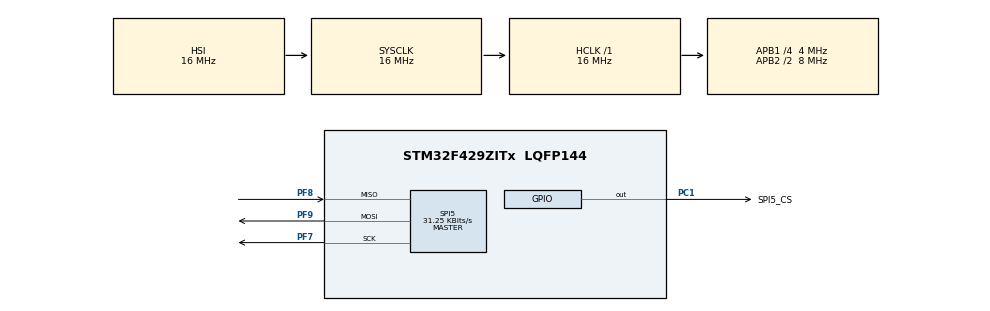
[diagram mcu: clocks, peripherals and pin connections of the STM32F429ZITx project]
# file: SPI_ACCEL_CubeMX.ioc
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Mcu.Family=STM32F4
Mcu.Name=STM32F429ZITx
Mcu.Package=LQFP144
NVIC.PriorityGroup=NVIC_PRIORITYGROUP_4
PC1.GPIO_Label=SPI5_CS
PC1.GPIO_Speed=GPIO_SPEED_FREQ_VERY_HIGH
PC1.Signal=GPIO_Output
PF7.Mode=Full_Duplex_Master
PF7.Signal=SPI5_SCK
PF8.Mode=Full_Duplex_Master
PF8.Signal=SPI5_MISO
PF9.Mode=Full_Duplex_Master
PF9.Signal=SPI5_MOSI
ProjectManager.HeapSize=0x200
ProjectManager.StackSize=0x400
ProjectManager.TargetToolchain=SW4STM32
RCC.48MHZClocksFreq_Value=50000000
RCC.AHBFreq_Value=16000000
RCC.APB1CLKDivider=RCC_HCLK_DIV4
RCC.APB1Freq_Value=4000000
RCC.APB1TimFreq_Value=8000000
RCC.APB2CLKDivider=RCC_HCLK_DIV2
RCC.APB2Freq_Value=8000000
RCC.APB2TimFreq_Value=16000000
RCC.CortexFreq_Value=16000000
RCC.HCLKFreq_Value=16000000
RCC.HSE_VALUE=25000000
RCC.HSI_VALUE=16000000
RCC.LSE_VALUE=32768
RCC.PLLM=8
RCC.PLLN=100
RCC.SYSCLKFreq_VALUE=16000000
RCC.VCOOutputFreq_Value=200000000
SPI5.BaudRatePrescaler=SPI_BAUDRATEPRESCALER_256
SPI5.CLKPhase=SPI_PHASE_2EDGE
SPI5.CLKPolarity=SPI_POLARITY_HIGH
SPI5.CalculateBaudRate=31.25 KBits/s
SPI5.DataSize=SPI_DATASIZE_8BIT
SPI5.Direction=SPI_DIRECTION_2LINES
SPI5.FirstBit=SPI_FIRSTBIT_MSB
SPI5.Mode=SPI_MODE_MASTER
SPI5.VirtualType=VM_MASTER
board=custom

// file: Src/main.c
/**
  ******************************************************************************
  * @file           : main.c
  * @brief          : Main program body
  ******************************************************************************
  ** This notice applies to any and all portions of this file
  * that are not between comment pairs USER CODE BEGIN and
  * USER CODE END. Other portions of this file, whether
  * inserted by the user or by software development tools
  * are owned by their respective copyright owners.
  *
  * COPYRIGHT(c) 2018 STMicroelectronics
  *
  * Redistribution and use in source and binary forms, with or without modification,
  * are permitted provided that the following conditions are met:
  *   1. Redistributions of source code must retain the above copyright notice,
  *      this list of conditions and the following disclaimer.
  *   2. Redistributions in binary form must reproduce the above copyright notice,
  *      this list of conditions and the following disclaimer in the documentation
  *      and/or other materials provided with the distribution.
  *   3. Neither the name of STMicroelectronics nor the names of its contributors
  *      may be used to endorse or promote products derived from this software
  *      without specific prior written permission.
  *
  * THIS SOFTWARE IS PROVIDED BY THE COPYRIGHT HOLDERS AND CONTRIBUTORS "AS IS"
  * AND ANY EXPRESS OR IMPLIED WARRANTIES, INCLUDING, BUT NOT LIMITED TO, THE
  * IMPLIED WARRANTIES OF MERCHANTABILITY AND FITNESS FOR A PARTICULAR PURPOSE ARE
  * DISCLAIMED. IN NO EVENT SHALL THE COPYRIGHT HOLDER OR CONTRIBUTORS BE LIABLE
  * FOR ANY DIRECT, INDIRECT, INCIDENTAL, SPECIAL, EXEMPLARY, OR CONSEQUENTIAL
  * DAMAGES (INCLUDING, BUT NOT LIMITED TO, PROCUREMENT OF SUBSTITUTE GOODS OR
  * SERVICES; LOSS OF USE, DATA, OR PROFITS; OR BUSINESS INTERRUPTION) HOWEVER
  * CAUSED AND ON ANY THEORY OF LIABILITY, WHETHER IN CONTRACT, STRICT LIABILITY,
  * OR TORT (INCLUDING NEGLIGENCE OR OTHERWISE) ARISING IN ANY WAY OUT OF THE USE
  * OF THIS SOFTWARE, EVEN IF ADVISED OF THE POSSIBILITY OF SUCH DAMAGE.
  *
  ******************************************************************************
  */
#include "main.h"
#include "stm32f4xx_hal.h"

SPI_HandleTypeDef hspi5;

/* USER CODE BEGIN PV */
/* Private variables ---------------------------------------------------------*/

volatile int16_t X_AXIS = 0;	// output is in 16bits reading by one from 2 registers (lower and higher part)
volatile int16_t Y_AXIS = 0;
volatile int16_t Z_AXIS = 0;
uint8_t DATA[6];
uint8_t addresses[16] =
{
	0x0F, 0x20, 0x21, 0x22, 0x23, 0x24, 0x25, 0x2E, 0x30, 0x32, 0x33, 0x34, 0x35, 0x36, 0x37, 0x38
};
uint8_t requests[16];

/* USER CODE END PV */

void SystemClock_Config(void);
static void MX_GPIO_Init(void);
static void MX_SPI5_Init(void);

/* USER CODE BEGIN PFP */
/* Private function prototypes -----------------------------------------------*/

/* USER CODE END PFP */

int main(void)
{

  /* MCU Configuration----------------------------------------------------------*/

  /* Reset of all peripherals, Initializes the Flash interface and the Systick. */
  HAL_Init();

  /* Configure the system clock */
  SystemClock_Config();

  /* Initialize all configured peripherals */
  MX_GPIO_Init();
  MX_SPI5_Init();
  /* USER CODE BEGIN 2 */
 /*
  HAL_GPIO_WritePin(SPI5_CS_GPIO_Port, SPI5_CS_Pin, GPIO_PIN_SET);
  HAL_Delay(100);

  int i;
  for(i = 0; i < 16; i++)
  {
  	HAL_Delay(10);

	addresses[i] = addresses[i] | 0x80;

  	HAL_GPIO_WritePin(SPI5_CS_GPIO_Port, SPI5_CS_Pin, GPIO_PIN_RESET);
  	HAL_SPI_Transmit(&hspi5, &addresses[i], 1, 50);
  	HAL_SPI_Receive(&hspi5, &requests[i], 1, 50);
  	HAL_GPIO_WritePin(SPI5_CS_GPIO_Port, SPI5_CS_Pin, GPIO_PIN_SET);
  }
*/

  HAL_GPIO_WritePin(SPI5_CS_GPIO_Port, SPI5_CS_Pin, GPIO_PIN_SET);
  HAL_Delay(100);														// CS -> HIGH (Normal) = Idle

  uint8_t CTRL[2];
  CTRL[0] = 0x20;		// CTRL1 Register address
  CTRL[1] = 0x0F;		// 00001111 - turn on and enable all axis

  HAL_GPIO_WritePin(SPI5_CS_GPIO_Port, SPI5_CS_Pin, GPIO_PIN_RESET);	// CS -> LOW (Active)
  HAL_SPI_Transmit(&hspi5, CTRL, 1, 100);								// Transmit (write) address
  HAL_SPI_Transmit(&hspi5, &CTRL[1], 1, 100);							// Transmit (write) data
  HAL_GPIO_WritePin(SPI5_CS_GPIO_Port, SPI5_CS_Pin, GPIO_PIN_SET);		// CS -> HIGH (Normal)
  HAL_Delay(500);

  uint8_t WHO[2];			// Control communication -> WHO_AM_I register value 11010100
  WHO[0] = 0x0F;			// 7bits address
  WHO[0] = 0x0F | 0x80; 	// R/W + address -> 8bits; RW = 1 for reading -> 10001111

  HAL_GPIO_WritePin(SPI5_CS_GPIO_Port, SPI5_CS_Pin, GPIO_PIN_RESET);
  HAL_SPI_Transmit(&hspi5, WHO, 1, 100);
  HAL_SPI_Receive(&hspi5, &WHO[1], 1, 100);								// WHO[1] should get 10001111
  HAL_GPIO_WritePin(SPI5_CS_GPIO_Port, SPI5_CS_Pin, GPIO_PIN_SET);

  uint8_t X[4];
  X[0] = 0x28 | 0x80;	// lower byte
  X[1] = 0x29 | 0x80;	// higher byte

  uint8_t Y[4];
  Y[0] = 0x2A | 0x80;
  Y[1] = 0x2B | 0x80;

  uint8_t Z[4];
  Z[0] = 0x2C | 0x80;
  Z[1] = 0x2D | 0x80;

  uint8_t temp[2];
  temp[0] = 0x26 | 0x80;

  uint8_t STATUS_REG[2];
  STATUS_REG[0] = 0x27 | 0x80;

  int state = 1;
  uint8_t DATA_ADDRESS = 0x28 | 0xC0;

  /* USER CODE END 2 */

  /* Infinite loop */
  /* USER CODE BEGIN WHILE */
  while (1)
  {
	 switch(state)
	 {

	 case 1:

		  HAL_GPIO_WritePin(SPI5_CS_GPIO_Port, SPI5_CS_Pin, GPIO_PIN_RESET);
		  HAL_SPI_Transmit(&hspi5, STATUS_REG, 1, 50);
		  HAL_SPI_Receive(&hspi5, &STATUS_REG[1], 1, 50);
		  HAL_GPIO_WritePin(SPI5_CS_GPIO_Port, SPI5_CS_Pin, GPIO_PIN_SET);

		  uint8_t new_data = (STATUS_REG[1] & 0b00001000);
		  if(new_data == 0x00) state = 1;
		  if(new_data == 0x08) state = 2;
		  break;

	 case 2:

		 HAL_GPIO_WritePin(SPI5_CS_GPIO_Port, SPI5_CS_Pin, GPIO_PIN_RESET);
		 HAL_SPI_Transmit(&hspi5, &DATA_ADDRESS, 1, 50);
		 HAL_SPI_Receive(&hspi5, DATA, 6, 100);
		 HAL_GPIO_WritePin(SPI5_CS_GPIO_Port, SPI5_CS_Pin, GPIO_PIN_SET);
		 state = 1;
		 break;
	 }

	 X_AXIS = DATA[1] << 8;
	 Y_AXIS = DATA[3] << 8;
	 Z_AXIS = DATA[5] << 8;

/*
	  HAL_GPIO_WritePin(SPI5_CS_GPIO_Port, SPI5_CS_Pin, GPIO_PIN_RESET);
	  HAL_SPI_Transmit(&hspi5, X, 1, 100);
	  HAL_SPI_Receive(&hspi5, &X[2], 1, 100);		// lower
	  HAL_GPIO_WritePin(SPI5_CS_GPIO_Port, SPI5_CS_Pin, GPIO_PIN_SET);

	  HAL_GPIO_WritePin(SPI5_CS_GPIO_Port, SPI5_CS_Pin, GPIO_PIN_RESET);
	  HAL_SPI_Transmit(&hspi5, &X[1], 1, 100);
	  HAL_SPI_Receive(&hspi5, &X[3], 1, 100);		// higher
	  HAL_GPIO_WritePin(SPI5_CS_GPIO_Port, SPI5_CS_Pin, GPIO_PIN_SET);

	  HAL_GPIO_WritePin(SPI5_CS_GPIO_Port, SPI5_CS_Pin, GPIO_PIN_RESET);
	  HAL_SPI_Transmit(&hspi5, temp, 1, 50);
	  HAL_SPI_Receive(&hspi5, &temp[1], 1, 50);
	  HAL_GPIO_WritePin(SPI5_CS_GPIO_Port, SPI5_CS_Pin, GPIO_PIN_SET);

	  HAL_GPIO_WritePin(SPI5_CS_GPIO_Port, SPI5_CS_Pin, GPIO_PIN_RESET);
	  HAL_SPI_Transmit(&hspi5, Y, 1, 100);
	  HAL_SPI_Receive(&hspi5, &Y[2], 1, 100);		// lower
	  HAL_SPI_Transmit(&hspi5, &Y[1], 1, 100);
	  HAL_SPI_Receive(&hspi5, &Y[3], 1, 100);		// higher
	  HAL_GPIO_WritePin(SPI5_CS_GPIO_Port, SPI5_CS_Pin, GPIO_PIN_SET);

	  HAL_GPIO_WritePin(SPI5_CS_GPIO_Port, SPI5_CS_Pin, GPIO_PIN_RESET);
	  Z[0] = 0b11101100;													// autoincrement adrress: RW, MS, 5bits address
	  HAL_SPI_Transmit(&hspi5, Z, 1, 50);
	  HAL_SPI_Receive(&hspi5, &Z[2], 2, 100);
	  HAL_GPIO_WritePin(SPI5_CS_GPIO_Port, SPI5_CS_Pin, GPIO_PIN_SET);
*/

  /* USER CODE END WHILE */

  }

}

void SystemClock_Config(void)
{

  RCC_OscInitTypeDef RCC_OscInitStruct;
  RCC_ClkInitTypeDef RCC_ClkInitStruct;

    /**Configure the main internal regulator output voltage
    */
  __HAL_RCC_PWR_CLK_ENABLE();

  __HAL_PWR_VOLTAGESCALING_CONFIG(PWR_REGULATOR_VOLTAGE_SCALE3);

    /**Initializes the CPU, AHB and APB busses clocks
    */
  RCC_OscInitStruct.OscillatorType = RCC_OSCILLATORTYPE_HSI;
  RCC_OscInitStruct.HSIState = RCC_HSI_ON;
  RCC_OscInitStruct.HSICalibrationValue = 16;
  RCC_OscInitStruct.PLL.PLLState = RCC_PLL_NONE;
  if (HAL_RCC_OscConfig(&RCC_OscInitStruct) != HAL_OK)
  {
    _Error_Handler(__FILE__, __LINE__);
  }

    /**Initializes the CPU, AHB and APB busses clocks
    */
  RCC_ClkInitStruct.ClockType = RCC_CLOCKTYPE_HCLK|RCC_CLOCKTYPE_SYSCLK
                              |RCC_CLOCKTYPE_PCLK1|RCC_CLOCKTYPE_PCLK2;
  RCC_ClkInitStruct.SYSCLKSource = RCC_SYSCLKSOURCE_HSI;
  RCC_ClkInitStruct.AHBCLKDivider = RCC_SYSCLK_DIV1;
  RCC_ClkInitStruct.APB1CLKDivider = RCC_HCLK_DIV4;
  RCC_ClkInitStruct.APB2CLKDivider = RCC_HCLK_DIV2;

  if (HAL_RCC_ClockConfig(&RCC_ClkInitStruct, FLASH_LATENCY_0) != HAL_OK)
  {
    _Error_Handler(__FILE__, __LINE__);
  }

    /**Configure the Systick interrupt time
    */
  HAL_SYSTICK_Config(HAL_RCC_GetHCLKFreq()/1000);

    /**Configure the Systick
    */
  HAL_SYSTICK_CLKSourceConfig(SYSTICK_CLKSOURCE_HCLK);

  /* SysTick_IRQn interrupt configuration */
  HAL_NVIC_SetPriority(SysTick_IRQn, 0, 0);
}

/* SPI5 init function */
static void MX_SPI5_Init(void)
{

  /* SPI5 parameter configuration*/
  hspi5.Instance = SPI5;
  hspi5.Init.Mode = SPI_MODE_MASTER;
  hspi5.Init.Direction = SPI_DIRECTION_2LINES;
  hspi5.Init.DataSize = SPI_DATASIZE_8BIT;
  hspi5.Init.CLKPolarity = SPI_POLARITY_HIGH;
  hspi5.Init.CLKPhase = SPI_PHASE_2EDGE;
  hspi5.Init.NSS = SPI_NSS_SOFT;
  hspi5.Init.BaudRatePrescaler = SPI_BAUDRATEPRESCALER_256;
  hspi5.Init.FirstBit = SPI_FIRSTBIT_MSB;
  hspi5.Init.TIMode = SPI_TIMODE_DISABLE;
  hspi5.Init.CRCCalculation = SPI_CRCCALCULATION_DISABLE;
  hspi5.Init.CRCPolynomial = 10;
  if (HAL_SPI_Init(&hspi5) != HAL_OK)
  {
    _Error_Handler(__FILE__, __LINE__);
  }

}

/** Configure pins as
        * Analog
        * Input
        * Output
        * EVENT_OUT
        * EXTI
*/
static void MX_GPIO_Init(void)
{

  GPIO_InitTypeDef GPIO_InitStruct;

  /* GPIO Ports Clock Enable */
  __HAL_RCC_GPIOF_CLK_ENABLE();
  __HAL_RCC_GPIOC_CLK_ENABLE();

  /*Configure GPIO pin Output Level */
  HAL_GPIO_WritePin(SPI5_CS_GPIO_Port, SPI5_CS_Pin, GPIO_PIN_RESET);

  /*Configure GPIO pin : SPI5_CS_Pin */
  GPIO_InitStruct.Pin = SPI5_CS_Pin;
  GPIO_InitStruct.Mode = GPIO_MODE_OUTPUT_PP;
  GPIO_InitStruct.Pull = GPIO_NOPULL;
  GPIO_InitStruct.Speed = GPIO_SPEED_FREQ_VERY_HIGH;
  HAL_GPIO_Init(SPI5_CS_GPIO_Port, &GPIO_InitStruct);

}

void _Error_Handler(char *file, int line)
{
  while(1)
  {
  }
}

/************************ (C) COPYRIGHT STMicroelectronics *****END OF FILE****/
